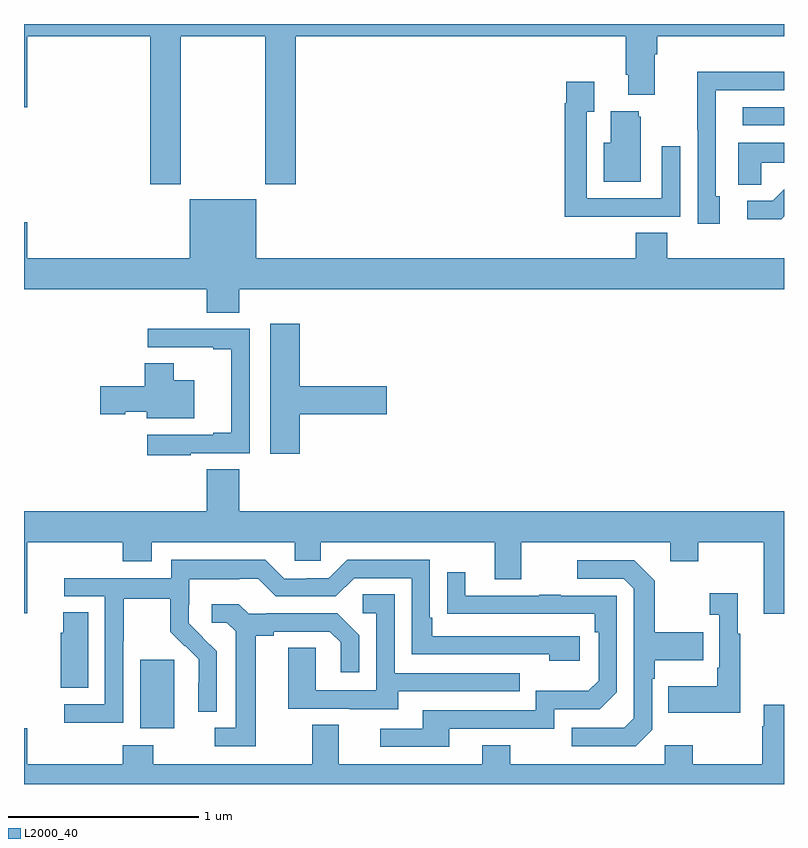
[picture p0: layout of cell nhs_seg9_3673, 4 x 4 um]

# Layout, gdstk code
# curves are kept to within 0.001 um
import gdstk
lib = gdstk.Library(unit=1e-6, precision=1e-09)
def R(c, l, rs):  # rectangles x0, y0, x1, y1
    for r in rs: c.add(gdstk.rectangle(r[:2], r[2:], *l))
def P(c, l, *ps):  # polygons
    for p in ps: c.add(gdstk.Polygon(p, *l))
L2000_40 = (2000, 40)

nhs_seg9_3673 = lib.new_cell('nhs_seg9_3673')
R(nhs_seg9_3673, L2000_40, [(321.611,1176.794,321.79,1177.155), (324.783,1179.966,325,1180.062)])
P(nhs_seg9_3673, L2000_40, [(321.825,1180.436),(322.27,1180.436),(322.27,1179.657),(322.43,1179.657),(322.43,1180.436),(324.167,1180.436),(324.167,1180.234),(324.179,1180.234),(324.179,1180.127),(324.319,1180.127),(324.319,1180.34),(324.332,1180.34),(324.332,1180.436),(325,1180.436),(325,1180.5),(321,1180.5),(321,1180.062),(321.016,1180.062),(321.016,1180.436),(321.665,1180.436),(321.665,1179.657),(321.825,1179.657)],
  [(324.661,1179.594),(324.642,1179.594),(324.642,1180.152),(325,1180.152),(325,1180.25),(324.544,1180.25),(324.544,1179.943),(324.546,1179.943),(324.546,1179.45),(324.661,1179.45)],
  [(324.137,1179.486),(324.453,1179.486),(324.453,1179.856),(324.357,1179.856),(324.357,1179.582),(323.961,1179.582),(323.961,1180.039),(324.001,1180.039),(324.001,1180.195),(323.853,1180.195),(323.853,1180.082),(323.845,1180.082),(323.845,1179.485),(324.137,1179.485)],
  [(324.247,1180.011),(324.236,1180.011),(324.236,1180.042),(324.089,1180.042),(324.089,1179.874),(324.05,1179.874),(324.05,1179.671),(324.247,1179.671)],
  [(324.879,1179.77),(325,1179.77),(325,1179.874),(324.758,1179.874),(324.758,1179.655),(324.879,1179.655)],
  [(325,1179.488),(325,1179.629),(324.941,1179.57),(324.807,1179.57),(324.807,1179.473),(324.985,1179.473)],
  [(322.133,1179.104),(325,1179.104),(325,1179.268),(324.386,1179.268),(324.386,1179.401),(324.221,1179.401),(324.221,1179.268),(322.222,1179.268),(322.222,1179.577),(321.872,1179.577),(321.872,1179.268),(321.016,1179.268),(321.016,1179.457),(321,1179.457),(321,1179.104),(321.962,1179.104),(321.962,1178.98),(322.133,1178.98)],
  [(322.451,1178.447),(322.909,1178.447),(322.909,1178.594),(322.451,1178.594),(322.451,1178.923),(322.295,1178.923),(322.295,1178.238),(322.451,1178.238)],
  [(321.878,1178.241),(322.188,1178.241),(322.188,1178.895),(321.878,1178.895),(321.878,1178.897),(321.651,1178.897),(321.651,1178.799),(321.995,1178.799),(321.995,1178.787),(322.091,1178.787),(322.091,1178.35),(321.995,1178.35),(321.995,1178.337),(321.648,1178.337),(321.648,1178.229),(321.878,1178.229)],
  [(321.895,1178.626),(321.789,1178.626),(321.789,1178.714),(321.635,1178.714),(321.635,1178.594),(321.402,1178.594),(321.402,1178.447),(321.533,1178.447),(321.533,1178.459),(321.647,1178.459),(321.647,1178.426),(321.895,1178.426)],
  [(325,1177.936),(322.133,1177.936),(322.133,1178.156),(321.962,1178.156),(321.962,1177.936),(321,1177.936),(321,1177.398),(321.016,1177.398),(321.016,1177.772),(321.521,1177.772),(321.521,1177.673),(321.673,1177.673),(321.673,1177.772),(322.425,1177.772),(322.425,1177.674),(322.563,1177.674),(322.563,1177.772),(323.477,1177.772),(323.477,1177.578),(323.617,1177.578),(323.617,1177.772),(324.401,1177.772),(324.401,1177.673),(324.549,1177.673),(324.549,1177.772),(324.893,1177.772),(324.893,1177.395),(325,1177.395)],
  [(321.522,1177.252),(321.525,1177.252),(321.525,1177.476),(321.769,1177.476),(321.769,1177.301),(321.846,1177.224),(321.849,1177.227),(321.92,1177.157),(321.92,1177.034),(321.918,1177.034),(321.918,1176.88),(322.014,1176.88),(322.014,1177.198),(321.868,1177.346),(321.868,1177.443),(321.87,1177.443),(321.87,1177.577),(322.133,1177.577),(322.133,1177.581),(322.233,1177.581),(322.326,1177.488),(322.641,1177.488),(322.737,1177.584),(323.04,1177.584),(323.04,1177.182),(323.765,1177.182),(323.765,1177.148),(323.926,1177.148),(323.926,1177.278),(323.149,1177.278),(323.149,1177.375),(323.136,1177.375),(323.136,1177.68),(322.701,1177.68),(322.605,1177.584),(322.487,1177.584),(322.487,1177.581),(322.371,1177.581),(322.271,1177.681),(321.774,1177.681),(321.774,1177.584),(321.213,1177.584),(321.213,1177.488),(321.426,1177.488),(321.426,1176.921),(321.213,1176.921),(321.213,1176.823),(321.522,1176.823)],
  [(324.306,1176.786),(324.306,1177.055),(324.319,1177.055),(324.319,1177.151),(324.575,1177.151),(324.575,1177.299),(324.319,1177.299),(324.319,1177.571),(324.213,1177.677),(323.913,1177.677),(323.913,1177.581),(324.156,1177.581),(324.21,1177.527),(324.21,1176.846),(324.159,1176.795),(323.883,1176.795),(323.883,1176.699),(324.219,1176.699)],
  [(323.239,1176.792),(323.79,1176.792),(323.79,1176.894),(324.03,1176.894),(324.12,1176.984),(324.12,1177.491),(323.825,1177.491),(323.825,1177.496),(323.713,1177.496),(323.713,1177.491),(323.323,1177.491),(323.323,1177.615),(323.227,1177.615),(323.227,1177.396),(324.004,1177.395),(324.004,1177.298),(324.024,1177.298),(324.024,1177.044),(323.971,1176.991),(323.694,1176.991),(323.694,1176.888),(323.099,1176.888),(323.099,1176.792),(322.875,1176.792),(322.875,1176.696),(323.239,1176.696)],
  [(324.769,1177.291),(324.757,1177.291),(324.757,1177.504),(324.609,1177.504),(324.609,1177.391),(324.66,1177.391),(324.66,1177.111),(324.648,1177.111),(324.648,1177.015),(324.391,1177.015),(324.391,1176.875),(324.769,1176.875)],
  [(322.969,1176.987),(323.609,1176.987),(323.609,1177.083),(322.95,1177.083),(322.95,1177.499),(322.782,1177.499),(322.782,1177.398),(322.854,1177.398),(322.854,1176.993),(322.536,1176.993),(322.536,1177.217),(322.391,1177.217),(322.391,1176.897),(322.715,1176.897),(322.715,1176.893),(322.969,1176.893)],
  [(322.219,1177.28),(322.315,1177.28),(322.315,1177.302),(322.61,1177.302),(322.667,1177.245),(322.667,1177.089),(322.764,1177.089),(322.764,1177.282),(322.648,1177.398),(322.276,1177.398),(322.276,1177.395),(322.182,1177.395),(322.13,1177.447),(321.987,1177.447),(321.987,1177.35),(322.068,1177.35),(322.115,1177.303),(322.115,1176.795),(322.005,1176.795),(322.005,1176.699),(322.219,1176.699)],
  [(321.337,1177.403),(321.206,1177.403),(321.206,1177.295),(321.194,1177.295),(321.194,1177.006),(321.337,1177.006)],
  [(325,1176.916),(324.893,1176.916),(324.893,1176.803),(324.886,1176.803),(324.886,1176.604),(324.519,1176.604),(324.519,1176.703),(324.372,1176.703),(324.372,1176.604),(323.559,1176.604),(323.559,1176.703),(323.411,1176.703),(323.411,1176.604),(322.657,1176.604),(322.657,1176.812),(322.517,1176.812),(322.517,1176.604),(321.681,1176.604),(321.681,1176.703),(321.521,1176.703),(321.521,1176.604),(321.016,1176.604),(321.016,1176.793),(321,1176.793),(321,1176.5),(325,1176.5)])

lib.write_gds('nhs_seg9_3673.gds')
